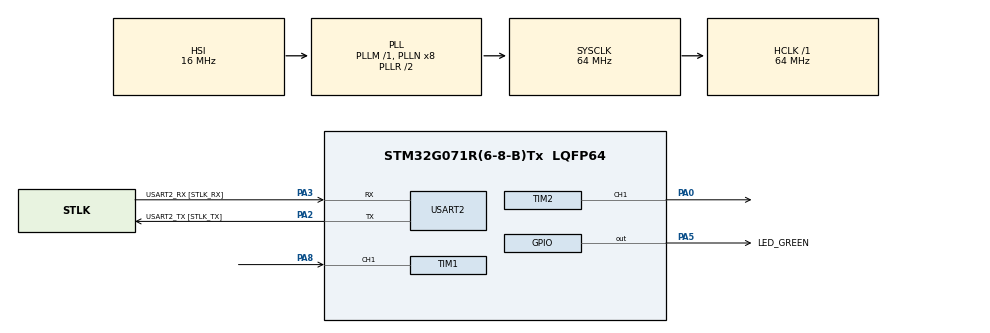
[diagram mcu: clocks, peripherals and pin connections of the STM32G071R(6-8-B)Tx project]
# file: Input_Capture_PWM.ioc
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Mcu.Family=STM32G0
Mcu.Name=STM32G071R(6-8-B)Tx
Mcu.Package=LQFP64
NVIC.TIM1_CC_IRQn=true\:0\:0\:false\:false\:true\:true\:true\:true
PA0.Signal=S_TIM2_CH1_ETR
PA13.GPIO_Label=TMS
PA13.Mode=Serial_Wire
PA13.Signal=SYS_SWDIO
PA14-BOOT0.GPIO_Label=TCK
PA14-BOOT0.Mode=Serial_Wire
PA14-BOOT0.Signal=SYS_SWCLK
PA2.GPIO_Label=USART2_TX [STLK_TX]
PA2.GPIO_PuPd=GPIO_PULLUP
PA2.Mode=Asynchronous
PA2.Signal=USART2_TX
PA3.GPIO_Label=USART2_RX [STLK_RX]
PA3.GPIO_PuPd=GPIO_PULLUP
PA3.Mode=Asynchronous
PA3.Signal=USART2_RX
PA5.GPIO_Label=LED_GREEN
PA5.GPIO_Speed=GPIO_SPEED_FREQ_HIGH
PA5.Signal=GPIO_Output
PA8.Signal=S_TIM1_CH1
PC13.Mode=SYS_WakeUp1
PC13.Signal=SYS_WKUP2
PC14-OSC32_IN\ (PC14).Mode=LSE-External-Oscillator
PC14-OSC32_IN\ (PC14).Signal=RCC_OSC32_IN
PC15-OSC32_OUT\ (PC15).Mode=LSE-External-Oscillator
PC15-OSC32_OUT\ (PC15).Signal=RCC_OSC32_OUT
PF0-OSC_IN\ (PF0).GPIO_Label=MCO
PF0-OSC_IN\ (PF0).Mode=HSE-External-Oscillator
PF0-OSC_IN\ (PF0).Signal=RCC_OSC_IN
PF1-OSC_OUT\ (PF1).Mode=HSE-External-Oscillator
PF1-OSC_OUT\ (PF1).Signal=RCC_OSC_OUT
ProjectManager.HeapSize=0x200
ProjectManager.StackSize=0x400
ProjectManager.TargetToolchain=STM32CubeIDE
RCC.ADCFreq_Value=64000000
RCC.AHBFreq_Value=64000000
RCC.CortexFreq_Value=64000000
RCC.EXTERNAL_CLOCK_VALUE=12288000
RCC.HCLKFreq_Value=64000000
RCC.HSE_VALUE=8000000
RCC.HSI_VALUE=16000000
RCC.PLLQ=RCC_PLLQ_DIV4
RCC.SYSCLKFreq_VALUE=64000000
RCC.SYSCLKSource=RCC_SYSCLKSOURCE_PLLCLK
RCC.VCOOutputFreq_Value=128000000
SH.S_TIM1_CH1.0=TIM1_CH1,Input_Capture1_from_TI1
SH.S_TIM2_CH1_ETR.0=TIM2_CH1,PWM Generation1 CH1
TIM1.Channel-Input_Capture1_from_TI1=TIM_CHANNEL_1
TIM1.Prescaler=63
TIM2.AutoReloadPreload=TIM_AUTORELOAD_PRELOAD_DISABLE
TIM2.Channel-PWM\ Generation1\ CH1=TIM_CHANNEL_1
TIM2.Period=999
TIM2.Prescaler=63
TIM2.Pulse-PWM\ Generation1\ CH1=500
USART2.VirtualMode-Asynchronous=VM_ASYNC
VP_TIM1_VS_ClockSourceINT.Mode=Internal
VP_TIM2_VS_ClockSourceINT.Mode=Internal
board=NUCLEO-G071RB

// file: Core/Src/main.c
/* USER CODE BEGIN Header */
/**
  ******************************************************************************
  * @file           : main.c
  * @brief          : Main program body
  ******************************************************************************
  * @attention
  *
  * Copyright (c) 2026 STMicroelectronics.
  * All rights reserved.
  *
  * This software is licensed under terms that can be found in the LICENSE file
  * in the root directory of this software component.
  * If no LICENSE file comes with this software, it is provided AS-IS.
  *
  ******************************************************************************
  */
/* USER CODE END Header */
#include "main.h"

/* USER CODE BEGIN Includes */
#include "stdio.h"
/* USER CODE END Includes */

TIM_HandleTypeDef htim1;
TIM_HandleTypeDef htim2;

UART_HandleTypeDef huart2;

/* USER CODE BEGIN PV */
uint32_t T1=0;
uint32_t T2=0;
int32_t Period=0;
float frequency;
uint8_t triggered=0;
uint32_t last_time=0;
char data[100]={'\0'};
#define TIMCLOCK 64000000
#define PSC 64
/* USER CODE END PV */

void SystemClock_Config(void);
static void MX_GPIO_Init(void);
static void MX_USART2_UART_Init(void);
static void MX_TIM1_Init(void);
static void MX_TIM2_Init(void);

int main(void)
{

  /* MCU Configuration--------------------------------------------------------*/

  /* Reset of all peripherals, Initializes the Flash interface and the Systick. */
  HAL_Init();

  /* Configure the system clock */
  SystemClock_Config();

  /* Initialize all configured peripherals */
  MX_GPIO_Init();
  MX_USART2_UART_Init();
  MX_TIM1_Init();
  MX_TIM2_Init();
  /* USER CODE BEGIN 2 */

  HAL_TIM_PWM_Start(&htim2,TIM_CHANNEL_1);
  HAL_TIM_IC_Start_IT(&htim1, TIM_CHANNEL_1);
  /* USER CODE END 2 */

  /* Infinite loop */
  /* USER CODE BEGIN WHILE */
  while (1)
  {

	  if(HAL_GetTick() - last_time >=2000){
		  sprintf(data,"Frequency=%.1f Hz\r\n",frequency);
		  HAL_UART_Transmit(&huart2,(uint8_t *)data,sizeof(data),10);
		  last_time=HAL_GetTick();

	  }
    /* USER CODE END WHILE */

  }
}

void SystemClock_Config(void)
{
  RCC_OscInitTypeDef RCC_OscInitStruct = {0};
  RCC_ClkInitTypeDef RCC_ClkInitStruct = {0};

  /** Configure the main internal regulator output voltage
  */
  HAL_PWREx_ControlVoltageScaling(PWR_REGULATOR_VOLTAGE_SCALE1);

  /** Initializes the RCC Oscillators according to the specified parameters
  * in the RCC_OscInitTypeDef structure.
  */
  RCC_OscInitStruct.OscillatorType = RCC_OSCILLATORTYPE_HSI;
  RCC_OscInitStruct.HSIState = RCC_HSI_ON;
  RCC_OscInitStruct.HSIDiv = RCC_HSI_DIV1;
  RCC_OscInitStruct.HSICalibrationValue = RCC_HSICALIBRATION_DEFAULT;
  RCC_OscInitStruct.PLL.PLLState = RCC_PLL_ON;
  RCC_OscInitStruct.PLL.PLLSource = RCC_PLLSOURCE_HSI;
  RCC_OscInitStruct.PLL.PLLM = RCC_PLLM_DIV1;
  RCC_OscInitStruct.PLL.PLLN = 8;
  RCC_OscInitStruct.PLL.PLLP = RCC_PLLP_DIV2;
  RCC_OscInitStruct.PLL.PLLQ = RCC_PLLQ_DIV4;
  RCC_OscInitStruct.PLL.PLLR = RCC_PLLR_DIV2;
  if (HAL_RCC_OscConfig(&RCC_OscInitStruct) != HAL_OK)
  {
    Error_Handler();
  }

  /** Initializes the CPU, AHB and APB buses clocks
  */
  RCC_ClkInitStruct.ClockType = RCC_CLOCKTYPE_HCLK|RCC_CLOCKTYPE_SYSCLK
                              |RCC_CLOCKTYPE_PCLK1;
  RCC_ClkInitStruct.SYSCLKSource = RCC_SYSCLKSOURCE_PLLCLK;
  RCC_ClkInitStruct.AHBCLKDivider = RCC_SYSCLK_DIV1;
  RCC_ClkInitStruct.APB1CLKDivider = RCC_HCLK_DIV1;

  if (HAL_RCC_ClockConfig(&RCC_ClkInitStruct, FLASH_LATENCY_2) != HAL_OK)
  {
    Error_Handler();
  }
}

static void MX_TIM1_Init(void)
{

  TIM_ClockConfigTypeDef sClockSourceConfig = {0};
  TIM_MasterConfigTypeDef sMasterConfig = {0};
  TIM_IC_InitTypeDef sConfigIC = {0};

  htim1.Instance = TIM1;
  htim1.Init.Prescaler = 63;
  htim1.Init.CounterMode = TIM_COUNTERMODE_UP;
  htim1.Init.Period = 65535;
  htim1.Init.ClockDivision = TIM_CLOCKDIVISION_DIV1;
  htim1.Init.RepetitionCounter = 0;
  htim1.Init.AutoReloadPreload = TIM_AUTORELOAD_PRELOAD_DISABLE;
  if (HAL_TIM_Base_Init(&htim1) != HAL_OK)
  {
    Error_Handler();
  }
  sClockSourceConfig.ClockSource = TIM_CLOCKSOURCE_INTERNAL;
  if (HAL_TIM_ConfigClockSource(&htim1, &sClockSourceConfig) != HAL_OK)
  {
    Error_Handler();
  }
  if (HAL_TIM_IC_Init(&htim1) != HAL_OK)
  {
    Error_Handler();
  }
  sMasterConfig.MasterOutputTrigger = TIM_TRGO_RESET;
  sMasterConfig.MasterOutputTrigger2 = TIM_TRGO2_RESET;
  sMasterConfig.MasterSlaveMode = TIM_MASTERSLAVEMODE_DISABLE;
  if (HAL_TIMEx_MasterConfigSynchronization(&htim1, &sMasterConfig) != HAL_OK)
  {
    Error_Handler();
  }
  sConfigIC.ICPolarity = TIM_INPUTCHANNELPOLARITY_RISING;
  sConfigIC.ICSelection = TIM_ICSELECTION_DIRECTTI;
  sConfigIC.ICPrescaler = TIM_ICPSC_DIV1;
  sConfigIC.ICFilter = 0;
  if (HAL_TIM_IC_ConfigChannel(&htim1, &sConfigIC, TIM_CHANNEL_1) != HAL_OK)
  {
    Error_Handler();
  }

}

static void MX_TIM2_Init(void)
{

  TIM_ClockConfigTypeDef sClockSourceConfig = {0};
  TIM_MasterConfigTypeDef sMasterConfig = {0};
  TIM_OC_InitTypeDef sConfigOC = {0};

  htim2.Instance = TIM2;
  htim2.Init.Prescaler = 63;
  htim2.Init.CounterMode = TIM_COUNTERMODE_UP;
  htim2.Init.Period = 19;
  htim2.Init.ClockDivision = TIM_CLOCKDIVISION_DIV1;
  htim2.Init.AutoReloadPreload = TIM_AUTORELOAD_PRELOAD_DISABLE;
  if (HAL_TIM_Base_Init(&htim2) != HAL_OK)
  {
    Error_Handler();
  }
  sClockSourceConfig.ClockSource = TIM_CLOCKSOURCE_INTERNAL;
  if (HAL_TIM_ConfigClockSource(&htim2, &sClockSourceConfig) != HAL_OK)
  {
    Error_Handler();
  }
  if (HAL_TIM_PWM_Init(&htim2) != HAL_OK)
  {
    Error_Handler();
  }
  sMasterConfig.MasterOutputTrigger = TIM_TRGO_RESET;
  sMasterConfig.MasterSlaveMode = TIM_MASTERSLAVEMODE_DISABLE;
  if (HAL_TIMEx_MasterConfigSynchronization(&htim2, &sMasterConfig) != HAL_OK)
  {
    Error_Handler();
  }
  sConfigOC.OCMode = TIM_OCMODE_PWM1;
  sConfigOC.Pulse = 10;
  sConfigOC.OCPolarity = TIM_OCPOLARITY_HIGH;
  sConfigOC.OCFastMode = TIM_OCFAST_DISABLE;
  if (HAL_TIM_PWM_ConfigChannel(&htim2, &sConfigOC, TIM_CHANNEL_1) != HAL_OK)
  {
    Error_Handler();
  }
  HAL_TIM_MspPostInit(&htim2);

}

static void MX_USART2_UART_Init(void)
{

  huart2.Instance = USART2;
  huart2.Init.BaudRate = 115200;
  huart2.Init.WordLength = UART_WORDLENGTH_8B;
  huart2.Init.StopBits = UART_STOPBITS_1;
  huart2.Init.Parity = UART_PARITY_NONE;
  huart2.Init.Mode = UART_MODE_TX_RX;
  huart2.Init.HwFlowCtl = UART_HWCONTROL_NONE;
  huart2.Init.OverSampling = UART_OVERSAMPLING_16;
  huart2.Init.OneBitSampling = UART_ONE_BIT_SAMPLE_DISABLE;
  huart2.Init.ClockPrescaler = UART_PRESCALER_DIV1;
  huart2.AdvancedInit.AdvFeatureInit = UART_ADVFEATURE_NO_INIT;
  if (HAL_UART_Init(&huart2) != HAL_OK)
  {
    Error_Handler();
  }
  if (HAL_UARTEx_SetTxFifoThreshold(&huart2, UART_TXFIFO_THRESHOLD_1_8) != HAL_OK)
  {
    Error_Handler();
  }
  if (HAL_UARTEx_SetRxFifoThreshold(&huart2, UART_RXFIFO_THRESHOLD_1_8) != HAL_OK)
  {
    Error_Handler();
  }
  if (HAL_UARTEx_DisableFifoMode(&huart2) != HAL_OK)
  {
    Error_Handler();
  }

}

static void MX_GPIO_Init(void)
{
  GPIO_InitTypeDef GPIO_InitStruct = {0};

  /* GPIO Ports Clock Enable */
  __HAL_RCC_GPIOC_CLK_ENABLE();
  __HAL_RCC_GPIOF_CLK_ENABLE();
  __HAL_RCC_GPIOA_CLK_ENABLE();

  /*Configure GPIO pin Output Level */
  HAL_GPIO_WritePin(LED_GREEN_GPIO_Port, LED_GREEN_Pin, GPIO_PIN_RESET);

  /*Configure GPIO pin : LED_GREEN_Pin */
  GPIO_InitStruct.Pin = LED_GREEN_Pin;
  GPIO_InitStruct.Mode = GPIO_MODE_OUTPUT_PP;
  GPIO_InitStruct.Pull = GPIO_NOPULL;
  GPIO_InitStruct.Speed = GPIO_SPEED_FREQ_HIGH;
  HAL_GPIO_Init(LED_GREEN_GPIO_Port, &GPIO_InitStruct);

}

/* USER CODE BEGIN 4 */

void HAL_TIM_IC_CaptureCallback(TIM_HandleTypeDef *htim){
	if(htim->Instance==TIM1){

		if(triggered==0){
			T1=HAL_TIM_ReadCapturedValue(&htim1,TIM_CHANNEL_1);
			triggered=1;
		}

		else {
			T2=HAL_TIM_ReadCapturedValue(&htim1,TIM_CHANNEL_1);

			Period=T2-T1;
			if(Period<0){
				Period=Period * (-1);
			}

			float refclock=TIMCLOCK/PSC;

			frequency=refclock/Period;
			__HAL_TIM_SET_COUNTER(&htim1, 0);
			triggered=0;

		}

	}
}
/* USER CODE END 4 */

void Error_Handler(void)
{
  __disable_irq();
  while (1)
  {
  }
}
